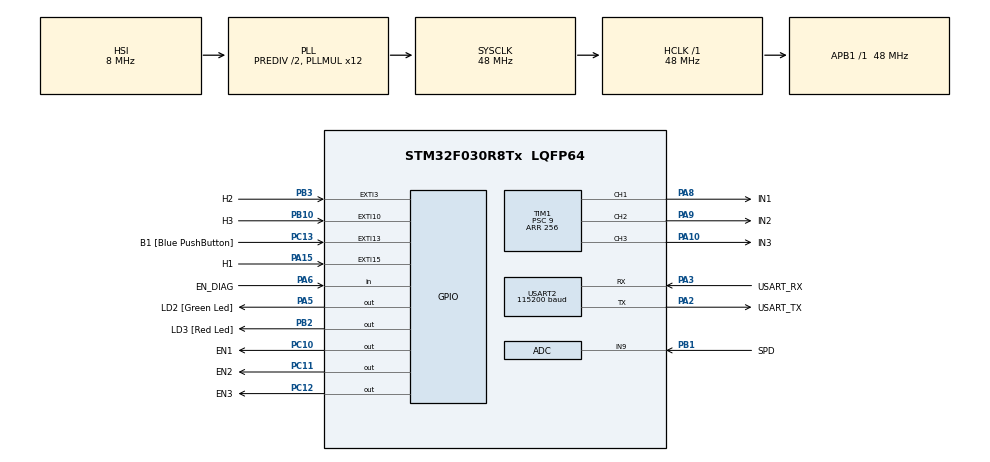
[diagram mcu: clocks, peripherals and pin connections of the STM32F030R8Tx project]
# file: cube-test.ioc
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ADC.SamplingTime=ADC_SAMPLETIME_13CYCLES_5
Mcu.Family=STM32F0
Mcu.Name=STM32F030R8Tx
Mcu.Package=LQFP64
NVIC.EXTI2_3_IRQn=true\:0\:0\:false\:false\:true\:true\:true\:true
NVIC.EXTI4_15_IRQn=true\:0\:0\:false\:false\:true\:true\:true\:true
NVIC.TIM1_CC_IRQn=true\:0\:0\:false\:false\:true\:true\:true\:true
PA10.GPIO_Label=IN3
PA10.GPIO_Speed=GPIO_SPEED_FREQ_HIGH
PA10.Signal=S_TIM1_CH3
PA13.GPIO_Label=TMS
PA13.Mode=Serial_Wire
PA13.Signal=SYS_SWDIO
PA14.GPIO_Label=TCK
PA14.Mode=Serial_Wire
PA14.Signal=SYS_SWCLK
PA15.GPIO_Label=H1
PA15.GPIO_ModeDefaultEXTI=GPIO_MODE_IT_RISING_FALLING
PA15.Signal=GPXTI15
PA2.GPIO_Label=USART_TX
PA2.GPIO_Mode=GPIO_MODE_AF_PP
PA2.GPIO_PuPd=GPIO_NOPULL
PA2.GPIO_Speed=GPIO_SPEED_FREQ_LOW
PA2.Mode=Asynchronous
PA2.Signal=USART2_TX
PA3.GPIO_Label=USART_RX
PA3.GPIO_Mode=GPIO_MODE_AF_PP
PA3.GPIO_PuPd=GPIO_NOPULL
PA3.GPIO_Speed=GPIO_SPEED_FREQ_LOW
PA3.Mode=Asynchronous
PA3.Signal=USART2_RX
PA5.GPIO_Label=LD2 [Green Led]
PA5.GPIO_Mode=GPIO_MODE_OUTPUT_PP
PA5.GPIO_PuPd=GPIO_NOPULL
PA5.GPIO_Speed=GPIO_SPEED_FREQ_LOW
PA5.Signal=GPIO_Output
PA6.GPIO_Label=EN_DIAG
PA6.GPIO_PuPd=GPIO_NOPULL
PA6.Signal=GPIO_Input
PA8.GPIO_Label=IN1
PA8.GPIO_Speed=GPIO_SPEED_FREQ_HIGH
PA8.Signal=S_TIM1_CH1
PA9.GPIO_Label=IN2
PA9.GPIO_Speed=GPIO_SPEED_FREQ_HIGH
PA9.Signal=S_TIM1_CH2
PB1.GPIO_Label=SPD
PB1.Mode=IN9
PB1.Signal=ADC_IN9
PB10.GPIO_Label=H3
PB10.GPIO_ModeDefaultEXTI=GPIO_MODE_IT_RISING_FALLING
PB10.Signal=GPXTI10
PB2.GPIO_Label=LD3 [Red Led]
PB2.Signal=GPIO_Output
PB3.GPIO_Label=H2
PB3.GPIO_ModeDefaultEXTI=GPIO_MODE_IT_RISING_FALLING
PB3.Signal=GPXTI3
PC10.GPIO_Label=EN1
PC10.Signal=GPIO_Output
PC11.GPIO_Label=EN2
PC11.Signal=GPIO_Output
PC12.GPIO_Label=EN3
PC12.Signal=GPIO_Output
PC13.GPIO_Label=B1 [Blue PushButton]
PC13.GPIO_ModeDefaultEXTI=GPIO_MODE_IT_FALLING
PC13.Signal=GPXTI13
PC14-OSC32_IN.Mode=LSE-External-Oscillator
PC14-OSC32_IN.Signal=RCC_OSC32_IN
PC15-OSC32_OUT.Mode=LSE-External-Oscillator
PC15-OSC32_OUT.Signal=RCC_OSC32_OUT
PF0-OSC_IN.Mode=HSE-External-Clock-Source
PF0-OSC_IN.Signal=RCC_OSC_IN
PF1-OSC_OUT.Signal=RCC_OSC_OUT
ProjectManager.HeapSize=0x200
ProjectManager.StackSize=0x400
ProjectManager.TargetToolchain=STM32CubeIDE
RCC.AHBFreq_Value=48000000
RCC.APB1Freq_Value=48000000
RCC.APB1TimFreq_Value=48000000
RCC.HCLKFreq_Value=48000000
RCC.PLLDivider=RCC_PREDIV_DIV2
RCC.PLLMUL=RCC_PLL_MUL12
RCC.SYSCLKFreq_VALUE=48000000
RCC.SYSCLKSource=RCC_SYSCLKSOURCE_PLLCLK
SH.S_TIM1_CH1.0=TIM1_CH1,PWM Generation1 CH1
SH.S_TIM1_CH2.0=TIM1_CH2,PWM Generation2 CH2
SH.S_TIM1_CH3.0=TIM1_CH3,PWM Generation3 CH3
TIM1.Channel-PWM\ Generation1\ CH1=TIM_CHANNEL_1
TIM1.Channel-PWM\ Generation2\ CH2=TIM_CHANNEL_2
TIM1.Channel-PWM\ Generation3\ CH3=TIM_CHANNEL_3
TIM1.CounterMode=TIM_COUNTERMODE_CENTERALIGNED3
TIM1.OCIdleState_2=TIM_OCIDLESTATE_RESET
TIM1.OCIdleState_3=TIM_OCIDLESTATE_SET
TIM1.Period=256
TIM1.Prescaler=9
TIM1.Pulse-PWM\ Generation1\ CH1=0
TIM1.Pulse-PWM\ Generation2\ CH2=0
TIM1.Pulse-PWM\ Generation3\ CH3=0
TIM14.Channel=TIM_CHANNEL_1
TIM14.Period=0xffff
TIM14.Prescaler=4799
USART2.BaudRate=115200
USART2.VirtualMode-Asynchronous=VM_ASYNC
VP_TIM14_VS_ClockSourceINT.Mode=Enable_Timer
VP_TIM14_VS_no_output1.Mode=Output Compare1 No Output
VP_TIM1_VS_ClockSourceINT.Mode=Internal
board=NUCLEO-F030R8

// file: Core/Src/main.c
/* USER CODE BEGIN Header */
/**
  ******************************************************************************
  * @file           : main.c
  * @brief          : Main program body
  ******************************************************************************
  * @attention
  *
  * Copyright (c) 2023 STMicroelectronics.
  * All rights reserved.
  *
  * This software is licensed under terms that can be found in the LICENSE file
  * in the root directory of this software component.
  * If no LICENSE file comes with this software, it is provided AS-IS.
  *
  ******************************************************************************
  */
/* USER CODE END Header */
#include "main.h"

/* USER CODE BEGIN Includes */
#include "app.h"
#include <stdio.h>

/* USER CODE END Includes */

ADC_HandleTypeDef hadc;

TIM_HandleTypeDef htim1;
TIM_HandleTypeDef htim14;

UART_HandleTypeDef huart2;

void SystemClock_Config(void);
static void MX_GPIO_Init(void);
static void MX_USART2_UART_Init(void);
static void MX_TIM1_Init(void);
static void MX_ADC_Init(void);
static void MX_TIM14_Init(void);

int main(void)
{

  /* MCU Configuration--------------------------------------------------------*/

  /* Reset of all peripherals, Initializes the Flash interface and the Systick. */
  HAL_Init();

  /* Configure the system clock */
  SystemClock_Config();

  /* Initialize all configured peripherals */
  MX_GPIO_Init();
  MX_USART2_UART_Init();
  MX_TIM1_Init();
  MX_ADC_Init();
  MX_TIM14_Init();
  /* USER CODE BEGIN 2 */

  Setup();

  /* USER CODE END 2 */

  /* Infinite loop */
  while (1)
  {

    /* USER CODE BEGIN 3 */

	Loop();
        /*
	char ch = '*';
	HAL_UART_Transmit(&huart2, (uint8_t *)&ch, 1, 100);
        */
  }
  /* USER CODE END 3 */
}

void SystemClock_Config(void)
{
  RCC_OscInitTypeDef RCC_OscInitStruct = {0};
  RCC_ClkInitTypeDef RCC_ClkInitStruct = {0};

  /** Initializes the RCC Oscillators according to the specified parameters
  * in the RCC_OscInitTypeDef structure.
  */
  RCC_OscInitStruct.OscillatorType = RCC_OSCILLATORTYPE_HSI|RCC_OSCILLATORTYPE_HSI14;
  RCC_OscInitStruct.HSIState = RCC_HSI_ON;
  RCC_OscInitStruct.HSI14State = RCC_HSI14_ON;
  RCC_OscInitStruct.HSICalibrationValue = RCC_HSICALIBRATION_DEFAULT;
  RCC_OscInitStruct.HSI14CalibrationValue = 16;
  RCC_OscInitStruct.PLL.PLLState = RCC_PLL_ON;
  RCC_OscInitStruct.PLL.PLLSource = RCC_PLLSOURCE_HSI;
  RCC_OscInitStruct.PLL.PLLMUL = RCC_PLL_MUL12;
  RCC_OscInitStruct.PLL.PREDIV = RCC_PREDIV_DIV2;
  if (HAL_RCC_OscConfig(&RCC_OscInitStruct) != HAL_OK)
  {
    Error_Handler();
  }

  /** Initializes the CPU, AHB and APB buses clocks
  */
  RCC_ClkInitStruct.ClockType = RCC_CLOCKTYPE_HCLK|RCC_CLOCKTYPE_SYSCLK
                              |RCC_CLOCKTYPE_PCLK1;
  RCC_ClkInitStruct.SYSCLKSource = RCC_SYSCLKSOURCE_PLLCLK;
  RCC_ClkInitStruct.AHBCLKDivider = RCC_SYSCLK_DIV1;
  RCC_ClkInitStruct.APB1CLKDivider = RCC_HCLK_DIV1;

  if (HAL_RCC_ClockConfig(&RCC_ClkInitStruct, FLASH_LATENCY_1) != HAL_OK)
  {
    Error_Handler();
  }
}

static void MX_ADC_Init(void)
{

  ADC_ChannelConfTypeDef sConfig = {0};

  /** Configure the global features of the ADC (Clock, Resolution, Data Alignment and number of conversion)
  */
  hadc.Instance = ADC1;
  hadc.Init.ClockPrescaler = ADC_CLOCK_ASYNC_DIV1;
  hadc.Init.Resolution = ADC_RESOLUTION_12B;
  hadc.Init.DataAlign = ADC_DATAALIGN_RIGHT;
  hadc.Init.ScanConvMode = ADC_SCAN_DIRECTION_FORWARD;
  hadc.Init.EOCSelection = ADC_EOC_SINGLE_CONV;
  hadc.Init.LowPowerAutoWait = DISABLE;
  hadc.Init.LowPowerAutoPowerOff = DISABLE;
  hadc.Init.ContinuousConvMode = DISABLE;
  hadc.Init.DiscontinuousConvMode = DISABLE;
  hadc.Init.ExternalTrigConv = ADC_SOFTWARE_START;
  hadc.Init.ExternalTrigConvEdge = ADC_EXTERNALTRIGCONVEDGE_NONE;
  hadc.Init.DMAContinuousRequests = DISABLE;
  hadc.Init.Overrun = ADC_OVR_DATA_PRESERVED;
  if (HAL_ADC_Init(&hadc) != HAL_OK)
  {
    Error_Handler();
  }

  /** Configure for the selected ADC regular channel to be converted.
  */
  sConfig.Channel = ADC_CHANNEL_9;
  sConfig.Rank = ADC_RANK_CHANNEL_NUMBER;
  sConfig.SamplingTime = ADC_SAMPLETIME_13CYCLES_5;
  if (HAL_ADC_ConfigChannel(&hadc, &sConfig) != HAL_OK)
  {
    Error_Handler();
  }

}

static void MX_TIM1_Init(void)
{

  TIM_ClockConfigTypeDef sClockSourceConfig = {0};
  TIM_MasterConfigTypeDef sMasterConfig = {0};
  TIM_OC_InitTypeDef sConfigOC = {0};
  TIM_BreakDeadTimeConfigTypeDef sBreakDeadTimeConfig = {0};

  htim1.Instance = TIM1;
  htim1.Init.Prescaler = 7;
  htim1.Init.CounterMode = TIM_COUNTERMODE_CENTERALIGNED3;
  htim1.Init.Period = 256;
  htim1.Init.ClockDivision = TIM_CLOCKDIVISION_DIV1;
  htim1.Init.RepetitionCounter = 0;
  htim1.Init.AutoReloadPreload = TIM_AUTORELOAD_PRELOAD_DISABLE;
  if (HAL_TIM_Base_Init(&htim1) != HAL_OK)
  {
    Error_Handler();
  }
  sClockSourceConfig.ClockSource = TIM_CLOCKSOURCE_INTERNAL;
  if (HAL_TIM_ConfigClockSource(&htim1, &sClockSourceConfig) != HAL_OK)
  {
    Error_Handler();
  }
  if (HAL_TIM_PWM_Init(&htim1) != HAL_OK)
  {
    Error_Handler();
  }
  sMasterConfig.MasterOutputTrigger = TIM_TRGO_RESET;
  sMasterConfig.MasterSlaveMode = TIM_MASTERSLAVEMODE_DISABLE;
  if (HAL_TIMEx_MasterConfigSynchronization(&htim1, &sMasterConfig) != HAL_OK)
  {
    Error_Handler();
  }
  sConfigOC.OCMode = TIM_OCMODE_PWM1;
  sConfigOC.Pulse = 0;
  sConfigOC.OCPolarity = TIM_OCPOLARITY_HIGH;
  sConfigOC.OCNPolarity = TIM_OCNPOLARITY_HIGH;
  sConfigOC.OCFastMode = TIM_OCFAST_DISABLE;
  sConfigOC.OCIdleState = TIM_OCIDLESTATE_RESET;
  sConfigOC.OCNIdleState = TIM_OCNIDLESTATE_RESET;
  if (HAL_TIM_PWM_ConfigChannel(&htim1, &sConfigOC, TIM_CHANNEL_1) != HAL_OK)
  {
    Error_Handler();
  }
  if (HAL_TIM_PWM_ConfigChannel(&htim1, &sConfigOC, TIM_CHANNEL_2) != HAL_OK)
  {
    Error_Handler();
  }
  sConfigOC.OCIdleState = TIM_OCIDLESTATE_SET;
  if (HAL_TIM_PWM_ConfigChannel(&htim1, &sConfigOC, TIM_CHANNEL_3) != HAL_OK)
  {
    Error_Handler();
  }
  sBreakDeadTimeConfig.OffStateRunMode = TIM_OSSR_DISABLE;
  sBreakDeadTimeConfig.OffStateIDLEMode = TIM_OSSI_DISABLE;
  sBreakDeadTimeConfig.LockLevel = TIM_LOCKLEVEL_OFF;
  sBreakDeadTimeConfig.DeadTime = 0;
  sBreakDeadTimeConfig.BreakState = TIM_BREAK_DISABLE;
  sBreakDeadTimeConfig.BreakPolarity = TIM_BREAKPOLARITY_HIGH;
  sBreakDeadTimeConfig.AutomaticOutput = TIM_AUTOMATICOUTPUT_DISABLE;
  if (HAL_TIMEx_ConfigBreakDeadTime(&htim1, &sBreakDeadTimeConfig) != HAL_OK)
  {
    Error_Handler();
  }
  HAL_TIM_MspPostInit(&htim1);

}

static void MX_TIM14_Init(void)
{

  TIM_OC_InitTypeDef sConfigOC = {0};

  htim14.Instance = TIM14;
  htim14.Init.Prescaler = 4799;
  htim14.Init.CounterMode = TIM_COUNTERMODE_UP;
  htim14.Init.Period = 0xffff;
  htim14.Init.ClockDivision = TIM_CLOCKDIVISION_DIV1;
  htim14.Init.AutoReloadPreload = TIM_AUTORELOAD_PRELOAD_DISABLE;
  if (HAL_TIM_Base_Init(&htim14) != HAL_OK)
  {
    Error_Handler();
  }
  if (HAL_TIM_OC_Init(&htim14) != HAL_OK)
  {
    Error_Handler();
  }
  sConfigOC.OCMode = TIM_OCMODE_TIMING;
  sConfigOC.Pulse = 0;
  sConfigOC.OCPolarity = TIM_OCPOLARITY_HIGH;
  sConfigOC.OCFastMode = TIM_OCFAST_DISABLE;
  if (HAL_TIM_OC_ConfigChannel(&htim14, &sConfigOC, TIM_CHANNEL_1) != HAL_OK)
  {
    Error_Handler();
  }

}

static void MX_USART2_UART_Init(void)
{

  huart2.Instance = USART2;
  huart2.Init.BaudRate = 115200;
  huart2.Init.WordLength = UART_WORDLENGTH_8B;
  huart2.Init.StopBits = UART_STOPBITS_1;
  huart2.Init.Parity = UART_PARITY_NONE;
  huart2.Init.Mode = UART_MODE_TX_RX;
  huart2.Init.HwFlowCtl = UART_HWCONTROL_NONE;
  huart2.Init.OverSampling = UART_OVERSAMPLING_16;
  huart2.Init.OneBitSampling = UART_ONE_BIT_SAMPLE_DISABLE;
  huart2.AdvancedInit.AdvFeatureInit = UART_ADVFEATURE_NO_INIT;
  if (HAL_UART_Init(&huart2) != HAL_OK)
  {
    Error_Handler();
  }

}

static void MX_GPIO_Init(void)
{
  GPIO_InitTypeDef GPIO_InitStruct = {0};

  /* GPIO Ports Clock Enable */
  __HAL_RCC_GPIOC_CLK_ENABLE();
  __HAL_RCC_GPIOF_CLK_ENABLE();
  __HAL_RCC_GPIOA_CLK_ENABLE();
  __HAL_RCC_GPIOB_CLK_ENABLE();

  /*Configure GPIO pin Output Level */
  HAL_GPIO_WritePin(LD2_GPIO_Port, LD2_Pin, GPIO_PIN_RESET);

  /*Configure GPIO pin Output Level */
  HAL_GPIO_WritePin(LD3_GPIO_Port, LD3_Pin, GPIO_PIN_RESET);

  /*Configure GPIO pin Output Level */
  HAL_GPIO_WritePin(GPIOC, EN1_Pin|EN2_Pin|EN3_Pin, GPIO_PIN_RESET);

  /*Configure GPIO pin : B1_Pin */
  GPIO_InitStruct.Pin = B1_Pin;
  GPIO_InitStruct.Mode = GPIO_MODE_IT_FALLING;
  GPIO_InitStruct.Pull = GPIO_NOPULL;
  HAL_GPIO_Init(B1_GPIO_Port, &GPIO_InitStruct);

  /*Configure GPIO pin : LD2_Pin */
  GPIO_InitStruct.Pin = LD2_Pin;
  GPIO_InitStruct.Mode = GPIO_MODE_OUTPUT_PP;
  GPIO_InitStruct.Pull = GPIO_NOPULL;
  GPIO_InitStruct.Speed = GPIO_SPEED_FREQ_LOW;
  HAL_GPIO_Init(LD2_GPIO_Port, &GPIO_InitStruct);

  /*Configure GPIO pin : EN_DIAG_Pin */
  GPIO_InitStruct.Pin = EN_DIAG_Pin;
  GPIO_InitStruct.Mode = GPIO_MODE_INPUT;
  GPIO_InitStruct.Pull = GPIO_NOPULL;
  HAL_GPIO_Init(EN_DIAG_GPIO_Port, &GPIO_InitStruct);

  /*Configure GPIO pin : LD3_Pin */
  GPIO_InitStruct.Pin = LD3_Pin;
  GPIO_InitStruct.Mode = GPIO_MODE_OUTPUT_PP;
  GPIO_InitStruct.Pull = GPIO_NOPULL;
  GPIO_InitStruct.Speed = GPIO_SPEED_FREQ_LOW;
  HAL_GPIO_Init(LD3_GPIO_Port, &GPIO_InitStruct);

  /*Configure GPIO pins : H3_Pin H2_Pin */
  GPIO_InitStruct.Pin = H3_Pin|H2_Pin;
  GPIO_InitStruct.Mode = GPIO_MODE_IT_RISING_FALLING;
  GPIO_InitStruct.Pull = GPIO_NOPULL;
  HAL_GPIO_Init(GPIOB, &GPIO_InitStruct);

  /*Configure GPIO pin : H1_Pin */
  GPIO_InitStruct.Pin = H1_Pin;
  GPIO_InitStruct.Mode = GPIO_MODE_IT_RISING_FALLING;
  GPIO_InitStruct.Pull = GPIO_NOPULL;
  HAL_GPIO_Init(H1_GPIO_Port, &GPIO_InitStruct);

  /*Configure GPIO pins : EN1_Pin EN2_Pin EN3_Pin */
  GPIO_InitStruct.Pin = EN1_Pin|EN2_Pin|EN3_Pin;
  GPIO_InitStruct.Mode = GPIO_MODE_OUTPUT_PP;
  GPIO_InitStruct.Pull = GPIO_NOPULL;
  GPIO_InitStruct.Speed = GPIO_SPEED_FREQ_LOW;
  HAL_GPIO_Init(GPIOC, &GPIO_InitStruct);

  /* EXTI interrupt init*/
  HAL_NVIC_SetPriority(EXTI2_3_IRQn, 0, 0);
  HAL_NVIC_EnableIRQ(EXTI2_3_IRQn);

  HAL_NVIC_SetPriority(EXTI4_15_IRQn, 0, 0);
  HAL_NVIC_EnableIRQ(EXTI4_15_IRQn);

}

/* USER CODE BEGIN 4 */

const char NL[] = "\r\n";
int __io_putchar(int ch) {
  if( ch == '\n' ){
    HAL_UART_Transmit(&huart2, (uint8_t *)&NL, sizeof(NL), 100);
  } else {
    HAL_UART_Transmit(&huart2, (uint8_t *)&ch, 1, 100);
  }
  return ch;
}

int __io_getchar(void) {
  uint8_t ch;
  if( HAL_UART_Receive(&huart2, &ch, 1, 0) == HAL_OK ){
    return ch;
  } else {
    return -1;
  }

}

/* USER CODE END 4 */

void Error_Handler(void)
{
  __disable_irq();
  while (1)
  {
  }
}

#ifdef  USE_FULL_ASSERT
/**
  * @brief  Reports the name of the source file and the source line number
  *         where the assert_param error has occurred.
  * @param  file: pointer to the source file name
  * @param  line: assert_param error line source number
  * @retval None
  */
void assert_failed(uint8_t *file, uint32_t line)
{
  /* USER CODE BEGIN 6 */
  /* User can add his own implementation to report the file name and line number,
     eg: printf("Wrong parameters value: file %s on line %d\r\n", file, line) */
  /* USER CODE END 6 */
}
#endif /* USE_FULL_ASSERT */
